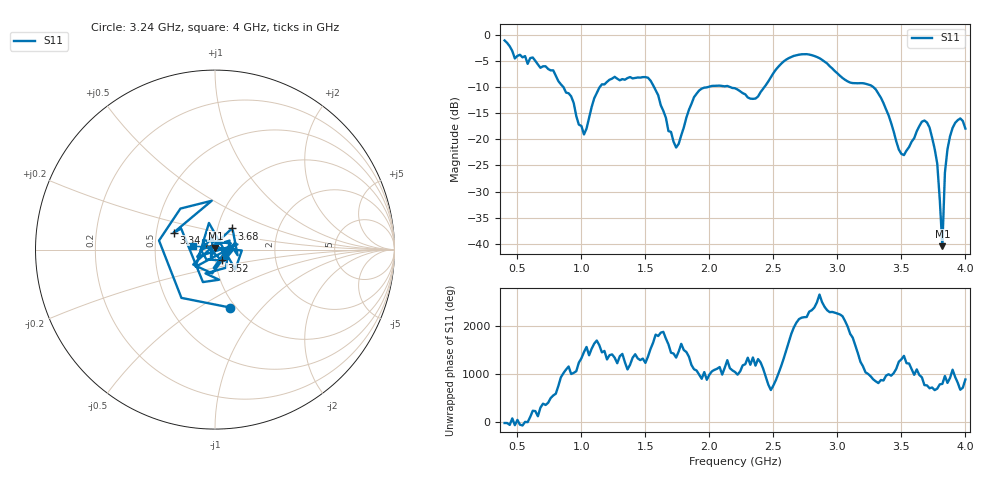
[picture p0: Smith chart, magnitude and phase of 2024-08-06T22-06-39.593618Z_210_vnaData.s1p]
!Created with skrf (http://scikit-rf.org).
# Hz S RI R 50.0
!freq ReS11 ImS11
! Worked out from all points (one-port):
!   181 points, 400 MHz to 4 GHz, reference 50 ohm
!   lowest |S11| = -40.4 dB at 3.82 GHz (marker M1), VSWR 1.02, Z = 50.2 + j0.935 ohm
!   |S11| at or under -10 dB: 858 MHz to 1.145 GHz (286.6 MHz wide, 28.6 % of centre); 1.567 GHz to 1.992 GHz (425.2 MHz wide, 23.9 % of centre); 3.279 GHz to end of sweep (the widest 3 of 4)
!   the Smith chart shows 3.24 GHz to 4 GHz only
!   S11 on the Smith chart (normalised r, x): 3.24 GHz: 0.94, -0.68; 3.34 GHz: 0.62, +0.12; 3.52 GHz: 1.07, -0.13; 3.68 GHz: 1.17, +0.28; 4 GHz: 0.78, +0.04
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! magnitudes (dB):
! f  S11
! 400 MHz  -1.1
! 480 MHz  -4.6
! 620 MHz  -4.4
! 860 MHz  -10.1
! 1.02 GHz  -19.1
! 1.14 GHz  -10.1
! 1.3 GHz  -8.7
! 1.52 GHz  -8.2
! 1.68 GHz  -18.4
! 1.76 GHz  -20.9
! 1.92 GHz  -10.7
! 2.2 GHz  -10.2
! 2.36 GHz  -12.2
! 2.66 GHz  -4.1
! 2.86 GHz  -4.5
! 3.1 GHz  -9.2
! 3.24 GHz  -9.5
! 3.34 GHz  -12.1
! 3.52 GHz  -23.0
! 3.56 GHz  -21.5
! 3.68 GHz  -16.4
! 3.72 GHz  -17.8
! 3.78 GHz  -24.6
! 3.82 GHz  -40.4
! 3.84 GHz  -26.4
! 3.86 GHz  -21.9
! 3.92 GHz  -16.9
! 4 GHz  -18.0
